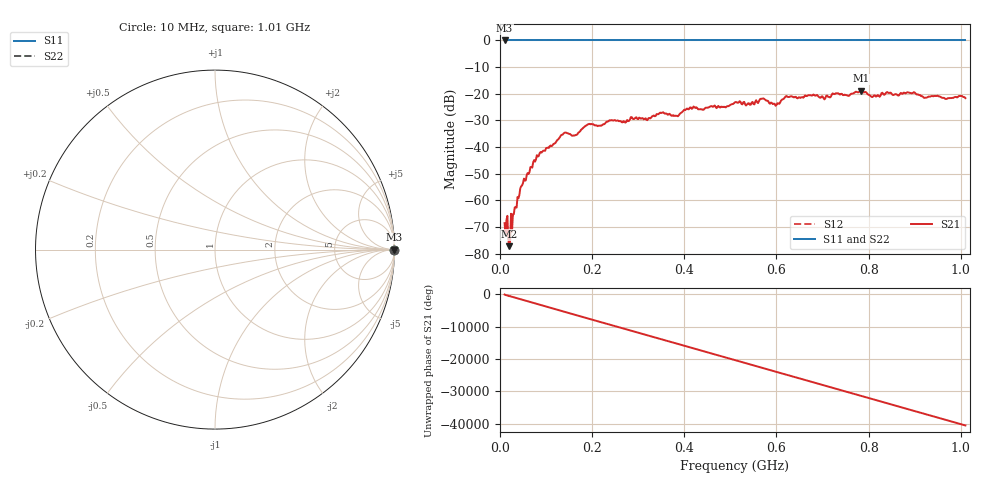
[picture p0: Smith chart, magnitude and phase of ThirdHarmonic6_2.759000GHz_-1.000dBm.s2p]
! 8/17/2025 6:57:09 AM
! C:\ANRITSUVNA\TEMP\TEMP.S2P
! CHANNEL.1
! TR.MEASUREMENT
! RAW.DATA
! RF.CORRECTION.OFF
! AVERAGING.OFF
! IF.BANDWIDTH: 5KHZ
! SWEEPTYPE:  FREQ.SWEEP(Linear)
! Reference Plane Port Info
! PORT:  PORT1  PORT2
! DISTANCE:  0  m  0  m
! TIME:  0  s  0  s
! PHASE.OFFSET:  0  deg.  0  deg.
! LOSS:  0  dB  0  dB
! REF.LOSS:  0  dB  0  dB
! REF.FREQ:  0  Hz  0  Hz
! Power Info
! POWER:  -20  dBm  -20  dBm
! EFF.POWER:  -20  dBm  -20  dBm
! SOURCE.ATTEN:  0  dB  0  dB
! TEST.ATTEN:  0  dB  0  dB
# GHZ S RI R 50.0
! FREQ.GHZ  S11RE  S11IM  S21RE  S21IM  S12RE  S12IM  S22RE  S22IM
!; PortSelection: Port_12
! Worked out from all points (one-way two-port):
!   501 points, 10 MHz to 1.01 GHz, reference 50 ohm
!   highest |S21| = -18.89 dB at 784 MHz (marker M1); lowest = -77.2 dB at 20 MHz (marker M2)
!   lowest |S11| = 0.0 dB at 10 MHz (marker M3)
!   |S11| at or under -10 dB: nowhere
!   |S22| runs from 0.0 to 0.0 dB; largest |S21 - S12| = 1.1
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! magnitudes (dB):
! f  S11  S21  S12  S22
! 10 MHz  0.0  -68.6  0.0  0.0
! 20 MHz  0.0  -77.2  0.0  0.0
! 22 MHz  0.0  -75.1  0.0  0.0
! 28 MHz  0.0  -65.2  0.0  0.0
! 48 MHz  0.0  -54.4  0.0  0.0
! 76 MHz  0.0  -45.5  0.0  0.0
! 136 MHz  0.0  -35.3  0.0  0.0
! 162 MHz  0.0  -35.7  0.0  0.0
! 178 MHz  0.0  -33.2  0.0  0.0
! 194 MHz  0.0  -31.3  0.0  0.0
! 344 MHz  0.0  -27.7  0.0  0.0
! 382 MHz  0.0  -28.3  0.0  0.0
! 416 MHz  0.0  -25.7  0.0  0.0
! 510 MHz  0.0  -23.2  0.0  0.0
! 570 MHz  0.0  -21.8  0.0  0.0
! 602 MHz  0.0  -23.6  0.0  0.0
! 622 MHz  0.0  -20.9  0.0  0.0
! 678 MHz  0.0  -20.6  0.0  0.0
! 784 MHz  0.0  -18.9  0.0  0.0
! 808 MHz  0.0  -21.2  0.0  0.0
! 844 MHz  0.0  -19.8  0.0  0.0
! 1.01 GHz  0.0  -21.6  0.0  0.0
